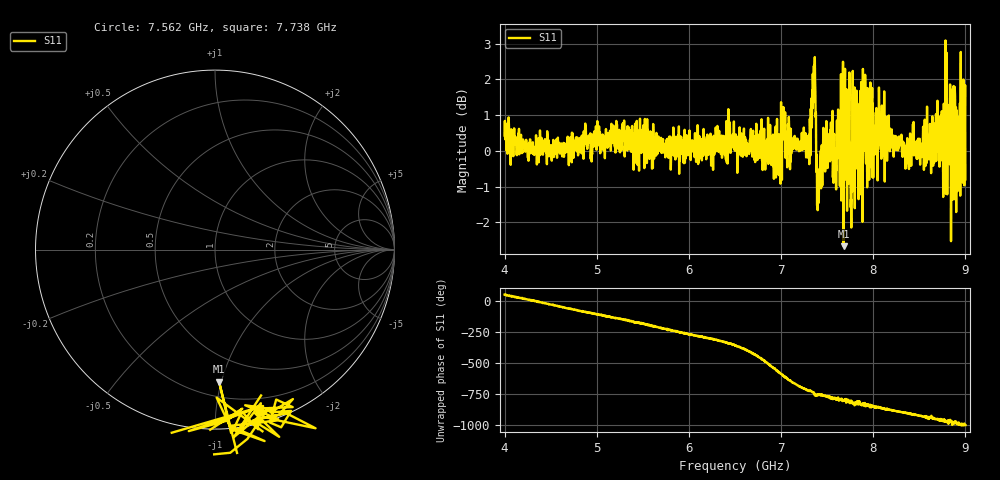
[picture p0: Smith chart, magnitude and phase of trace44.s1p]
! Created with skrf 1.8.0 (http://scikit-rf.org).
# Hz S RI R 50.0
!freq ReS11 ImS11
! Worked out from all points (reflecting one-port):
!   1601 points, 4 GHz to 9 GHz, reference 50 ohm
!   lowest |S11| = -2.7 dB at 7.678 GHz (marker M1), VSWR 6.57, Z = 15.3 - j49.1 ohm
!   phase of S11 starts at 51 deg and turns -1055 deg over the sweep
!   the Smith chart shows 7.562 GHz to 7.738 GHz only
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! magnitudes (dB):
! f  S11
! 4 GHz  0.4
! 4.625 GHz  -0.2
! 5.25 GHz  0.0
! 5.875 GHz  0.1
! 6.5 GHz  0.0
! 6.909 GHz  0.3
! 7.038 GHz  0.6
! 7.125 GHz  0.3
! 7.294 GHz  -0.2
! 7.347 GHz  1.7
! 7.362 GHz  2.3
! 7.409 GHz  -1.5
! 7.478 GHz  -0.6
! 7.534 GHz  0.6
! 7.588 GHz  -0.1
! 7.678 GHz  -2.7
! 7.688 GHz  -0.3
! 7.75 GHz  0.0
! 7.775 GHz  1.5
! 7.8 GHz  -1.6
! 7.859 GHz  1.7
! 7.894 GHz  0.4
! 8.375 GHz  -0.1
! 8.766 GHz  1.3
! 8.809 GHz  0.6
! 8.869 GHz  -0.4
! 8.959 GHz  1.9
! 9 GHz  -0.8
